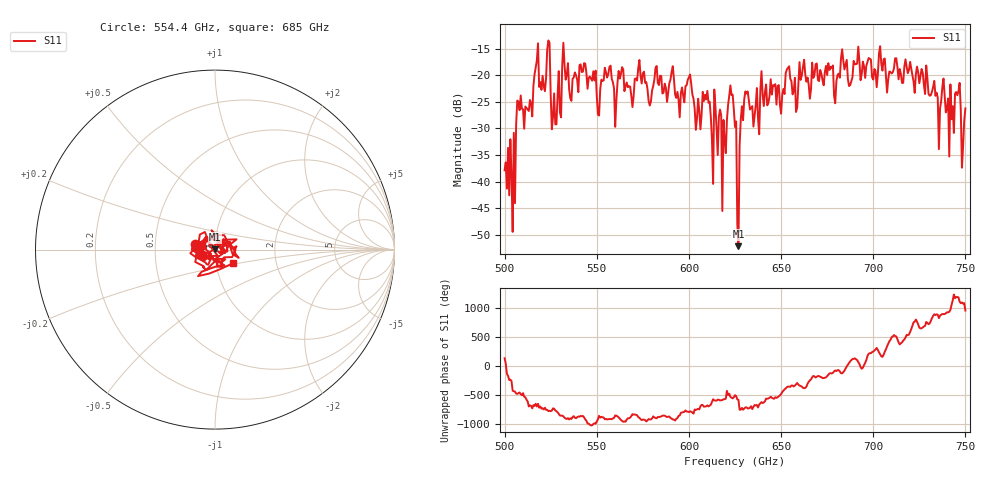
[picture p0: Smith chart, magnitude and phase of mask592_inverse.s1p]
!Created with skrf (http://scikit-rf.org).
# GHz S MA R 50.0
!freq magS11 angS11
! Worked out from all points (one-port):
!   401 points, 500 GHz to 750 GHz, reference 50 ohm
!   lowest |S11| = -52.2 dB at 626.9 GHz (marker M1), VSWR 1.00, Z = 49.8 + j0.163 ohm
!   |S11| at or under -10 dB: start of sweep to end of sweep
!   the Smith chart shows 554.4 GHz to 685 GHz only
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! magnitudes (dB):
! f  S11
! 500 GHz  -37.9
! 505 GHz  -30.8
! 507.5 GHz  -25.0
! 513.8 GHz  -24.7
! 516.9 GHz  -18.6
! 520.6 GHz  -20.1
! 523.8 GHz  -13.5
! 526.9 GHz  -23.4
! 531.2 GHz  -18.2
! 542.5 GHz  -19.3
! 551.2 GHz  -27.6
! 562.5 GHz  -20.6
! 578.8 GHz  -25.7
! 590.6 GHz  -19.4
! 593.8 GHz  -23.1
! 610 GHz  -22.9
! 611.9 GHz  -27.8
! 619.4 GHz  -32.1
! 622.5 GHz  -21.9
! 625 GHz  -29.8
! 626.9 GHz  -52.2
! 631.2 GHz  -23.4
! 656.2 GHz  -23.6
! 680 GHz  -21.2
! 683.8 GHz  -17.2
! 687.5 GHz  -21.9
! 718.8 GHz  -19.6
! 750 GHz  -26.2
